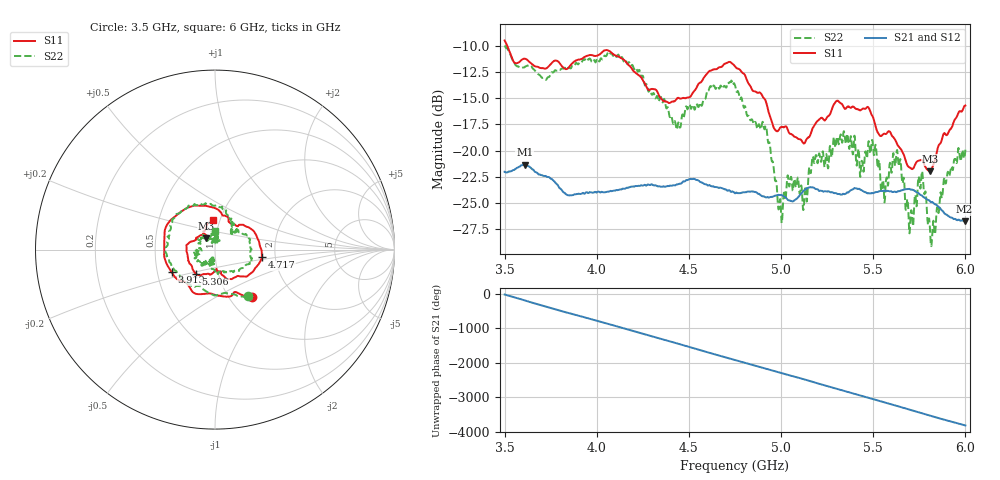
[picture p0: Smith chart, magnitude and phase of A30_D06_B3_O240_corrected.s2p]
! Created with skrf 1.9.0 (http://scikit-rf.org).
# Hz S RI R 50.0
!freq ReS11 ImS11 ReS21 ImS21 ReS12 ImS12 ReS22 ImS22
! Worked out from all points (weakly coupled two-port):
!   1601 points, 3.5 GHz to 6 GHz, reference 50 ohm
!   highest |S21| = -21.32 dB at 3.609 GHz (marker M1); lowest = -26.7 dB at 5.995 GHz (marker M2)
!   lowest |S11| = -22.0 dB at 5.808 GHz (marker M3), VSWR 1.17, Z = 44.9 + j5.61 ohm
!   |S11| at or under -10 dB: 3.514 GHz to end of sweep
!   |S22| runs from -29.1 to -10.0 dB; largest |S21 - S12| = 0.00094
!   S11 on the Smith chart (normalised r, x): 3.5 GHz: 1.26, -0.75; 3.913 GHz: 0.59, -0.16; 4.717 GHz: 1.70, -0.15; 5.306 GHz: 0.78, -0.22; 6 GHz: 0.93, +0.31
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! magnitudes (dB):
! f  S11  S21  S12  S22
! 3.5 GHz  -9.5  -22.0  -22.0  -10.0
! 3.609 GHz  -11.3  -21.3  -21.3  -12.0
! 3.913 GHz  -11.3  -24.1  -24.1  -11.6
! 3.917 GHz  -11.3  -24.1  -24.1  -11.6
! 4.125 GHz  -11.1  -23.7  -23.7  -11.2
! 4.334 GHz  -14.6  -23.4  -23.3  -15.2
! 4.442 GHz  -15.0  -23.2  -23.1  -17.3
! 4.717 GHz  -11.5  -23.8  -23.8  -13.5
! 4.75 GHz  -12.0  -24.1  -24.0  -13.8
! 4.912 GHz  -15.1  -24.4  -24.4  -17.9
! 4.995 GHz  -17.8  -24.2  -24.2  -24.6
! 5.044 GHz  -18.3  -24.7  -24.7  -23.4
! 5.13 GHz  -19.2  -23.7  -23.7  -23.6
! 5.167 GHz  -18.0  -23.5  -23.4  -21.0
! 5.306 GHz  -15.2  -24.1  -24.0  -18.7
! 5.584 GHz  -18.1  -23.8  -23.8  -22.4
! 5.638 GHz  -19.6  -23.9  -23.8  -21.4
! 5.705 GHz  -21.7  -23.7  -23.7  -25.8
! 5.758 GHz  -20.9  -24.2  -24.1  -23.3
! 5.808 GHz  -22.0  -24.8  -24.8  -27.4
! 5.995 GHz  -15.7  -26.7  -26.6  -20.6
! 6 GHz  -15.7  -26.7  -26.7  -19.9
